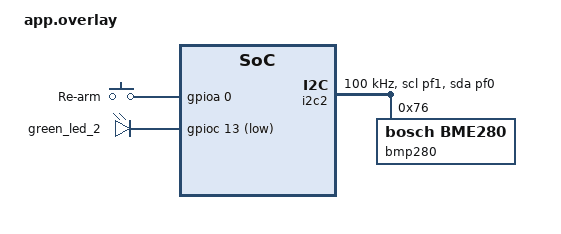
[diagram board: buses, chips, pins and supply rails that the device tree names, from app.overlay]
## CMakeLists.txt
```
# SPDX-License-Identifier: Apache-2.0

cmake_minimum_required(VERSION 3.20.0)
find_package(Zephyr REQUIRED HINTS $ENV{ZEPHYR_BASE})
project(rocket_demo)

# Test-only: scripted LED requests, so the arbitration can be observed without
# flight logic. Never enabled for a release build.
option(APP_LED_SELFTEST "Run the LED request self-test sequence" OFF)

target_sources(app PRIVATE
    src/main.cpp
    src/shared_data.cpp
    src/bus_recovery.cpp
    src/altitude.cpp
    src/led_logic.cpp
    src/led_pulse.cpp
    src/apogee.cpp
    src/rearm.cpp
    src/heat.cpp
    src/sensor_task.cpp
    src/altitude_task.cpp
    src/apogee_task.cpp
    src/heat_task.cpp
    src/led_manager.cpp
    src/telemetry_task.cpp
)

if(CONFIG_APP_REPLAY)
    target_sources(app PRIVATE src/replay.cpp)
endif()

if(APP_LED_SELFTEST)
    target_sources(app PRIVATE src/led_selftest.cpp)
    target_compile_definitions(app PRIVATE APP_LED_SELFTEST=1)
endif()
```

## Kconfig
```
# Application-specific configuration.
#
# This file is the Kconfig root for the application, so it must pull in
# Zephyr's own tree first; otherwise every Zephyr symbol is undefined.
#
# These are the values that a reviewer or a test build is expected to change
# without touching source. The 750 ms window, the 10 s deployment indication,
# the 5 s alarm and the 500 ms blink period are *not* configurable: they are
# the behaviour the assignment specifies.

source "Kconfig.zephyr"

menu "Rocket demo"

config APP_APOGEE_MIN_ALT_CM
	int "Minimum altitude above the baseline before deploying (cm)"
	range 10 3000
	default 150
	help
	  Threshold relative to the baseline P0 captured at start-up, not to sea
	  level. 150 cm is about 1.7x the altitude noise measured on the bench
	  (0.89 m peak-to-peak). A bench value, not a flight value: a real vehicle
	  would set this well above the ground handling envelope.

config APP_APOGEE_MIN_DESCENT_MM_S
	int "Minimum average descent over 750 ms (mm/s)"
	range 0 20000
	default 300
	help
	  How far below zero the 750 ms average velocity must be. 0 is the literal
	  "becomes negative" of the assignment; 300 mm/s is a noise guard above it,
	  not a performance threshold.

	  The same value is applied to the least-squares slope over the same window.
	  Both estimators must be at least this far below zero, so a single bad edge
	  sample cannot pass the trigger on its own. On a ballistic fall the two are
	  mathematically identical, so the extra condition costs nothing there.

	  Timing: falling from rest at apogee, a 0.3 m/s trailing average is
	  reached about 0.41 s later, roughly 0.81 m below the peak. Raising this
	  value delays detection; it does not improve it in flight.

	  Note that a moving vehicle is not a bench: in the lab, a hand settle after
	  a fast lift reaches about 0.36 m/s, which is why bench.conf needs a
	  *larger* margin than this default.

config APP_APOGEE_MIN_DROP_CM
	int "Descent below the peak before deploying (cm)"
	range 0 500
	default 25
	help
	  How far the altitude must fall below the estimated peak, which is the
	  maximum of a three-sample median rather than the raw maximum, so an
	  isolated spike cannot become the peak.

	  25 cm is a confirmation guard, not a requirement. On a ballistic fall it
	  is free: 0.81 m has already been fallen when the 0.30 m/s average is
	  reached. On a bench it is the weakest guard, because a hand settle after
	  a fast lift measures 35-44 cm; bench.conf therefore uses a larger margin
	  rather than relying on this filter.

config APP_REARM_BUTTON
	bool "Re-arm a simulated flight from the user button"
	default y
	help
	  Pressing the button clears the detector history and latch, ends the
	  deployment indication and restarts the baseline calibration, so a new
	  simulated flight can begin without a reboot. Heat is deliberately left
	  alone: a hot sensor is a condition, not a flight artefact.

	  The pin is declared in app.overlay as rearm_button (PA0, active low,
	  pull-up). Disable this if the pin is needed for something else; a reset
	  is then a power cycle or a reflash.

config APP_REARM_DEBOUNCE_MS
	int "Re-arm button debounce (ms)"
	depends on APP_REARM_BUTTON
	default 50
	range 5 500
	help
	  How long the pressed level must be stable before a press is accepted.
	  A mechanical button bounces for a few milliseconds; the apogee thread
	  polls every 50 ms, so 50 ms costs at most one extra poll.

config APP_HEAT_THRESHOLD_MC
	int "Overheat threshold (milli-degrees Celsius)"
	range -40000 85000
	default 30000
	help
	  The temperature at or above which the overheat alarm starts. 30000 is
	  30.0 C: above a still bench, which reads about 23 C here, and reachable
	  by pinching the sensor.

config APP_HEAT_HYSTERESIS_MC
	int "Overheat release hysteresis (milli-degrees Celsius)"
	range 0 5000
	default 200
	help
	  The alarm clears only once the temperature falls below the threshold
	  minus this band. 200 = 0.2 C, which is above the sensor's noise so the
	  alarm does not chatter at the boundary.

config APP_REPLAY
	bool "Replay a recorded trace instead of the live sensor"
	default n
	help
	  Publishes a trace from traces/ through the normal measurement store, so
	  altitude, apogee, heat and the LED run unmodified. Exactly one publisher
	  exists per boot: the sensor thread is not started in this mode.

choice APP_REPLAY_TRACE
	prompt "Trace to replay"
	depends on APP_REPLAY
	default APP_TRACE_AT05
	help
	  One trace per build, so each acceptance scenario is reproducible and its
	  evidence is tied to a known binary. See traces/.

config APP_TRACE_AT04A
	bool "at04a - descending below the minimum"
config APP_TRACE_AT04B
	bool "at04b - above the minimum but ascending"
config APP_TRACE_AT05
	bool "at05 - ascent, peak, sustained descent"
config APP_TRACE_AT08
	bool "at08 - deployment then heat, cooling before the deadline"
config APP_TRACE_AT09
	bool "at09 - heat starts after the deployment deadline"
config APP_TRACE_AT07A
	bool "at07a - heat only, one 5 s window"
config APP_TRACE_AT07B
	bool "at07b - heat across renewals, then cooling"
endchoice

config APP_READY_INDICATION
	bool "Flash the LED twice when the system is ready"
	default y
	help
	  Once the sensor is answering, the baseline is frozen and the 750 ms
	  history is full, flash the LED twice (100 ms on, 120 ms off, 100 ms on).
	  This exists for untethered runs where no console is available.
	  It is not part of the assignment's LED behaviour; disable it to keep the
	  LED strictly for deployment and overheating.

endmenu
```

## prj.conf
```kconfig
CONFIG_GPIO=y

# BMP280 pressure/temperature sensor on I2C2 (PF1 = SCL, PF0 = SDA)
CONFIG_I2C=y
# Recover a latched bus (SDA held low) by bit-banging, instead of needing a
# power cycle after a mid-transfer reset.
CONFIG_I2C_STM32_BUS_RECOVERY=y
CONFIG_SENSOR=y
CONFIG_BME280=y

# Sampling: 8x pressure / 2x temperature, one conversion per 50 ms sample.
# Forced mode means each fetch triggers exactly one measurement and the sensor
# returns to sleep, so a 50 ms period contains exactly one fresh conversion
# instead of whatever normal mode last left in the data registers.
# 24.8 ms of conversion in a 50 ms period leaves ~24 ms of slack.
CONFIG_BME280_MODE_FORCED=y
CONFIG_BME280_PRESS_OVER_8X=y
CONFIG_BME280_TEMP_OVER_2X=y
# The BMP280 has no humidity sensor, but the driver's sample-time constant
# counts humidity oversampling anyway. At the default 16x it computes 53 ms,
# which exceeds the 50 ms period, so every fetch would overrun the schedule
# without any build error. At 1x the constant is 23 ms.
CONFIG_BME280_HUMIDITY_OVER_1X=y
# The IIR filter needs consecutive measurements in normal mode to smooth
# across; forced mode sleeps between conversions, so the filter is not relied
# on. The 750 ms descent window provides the averaging instead.
CONFIG_BME280_FILTER_OFF=y

# Console output over the ST-Link SWD connection via SEGGER RTT,
# because no USB-UART adapter is available.
CONFIG_USE_SEGGER_RTT=y
CONFIG_RTT_CONSOLE=y
# 8 KB rather than 2 KB: the LED self-test emits four transition lines per
# second on top of the normal telemetry, and a 2 KB buffer overran during it
# (lines were truncated mid-word). The cost is 6 KB of RAM.
CONFIG_SEGGER_RTT_BUFFER_SIZE_UP=8192
# The board defconfig enables the USART2 console, which installs its own printk
# hook at the same init priority and wins over RTT. Disable it so RTT is used.
CONFIG_UART_CONSOLE=n

# Added automatically by Workbench for Zephyr
#--- DEBUG PRESET - BEGIN ---#
# Set to -Og
CONFIG_DEBUG_OPTIMIZATIONS=y
# Thread awareness support
CONFIG_DEBUG_THREAD_INFO=y
# Generate stack usage per-function
CONFIG_STACK_USAGE=y
# Other options in case not set by default
CONFIG_BUILD_OUTPUT_HEX=y
CONFIG_BUILD_OUTPUT_META=y
CONFIG_OUTPUT_SYMBOLS=y
CONFIG_OUTPUT_STAT=y
CONFIG_OUTPUT_DISASSEMBLY=y
CONFIG_OUTPUT_PRINT_MEMORY_USAGE=y
CONFIG_CPP=y
CONFIG_STD_CPP17=y
#--- DEBUG PRESET - END ---#

# Application tuning (see Kconfig). These are the values the assignment calls
# "configurable"; the 750 ms window and the 10 s / 5 s / 500 ms indication
# timings are deliberately not configurable.
CONFIG_APP_APOGEE_MIN_ALT_CM=150
CONFIG_APP_APOGEE_MIN_DESCENT_MM_S=300
CONFIG_APP_APOGEE_MIN_DROP_CM=25
# Flash twice once the system is ready, for untethered runs with no console.
CONFIG_APP_HEAT_THRESHOLD_MC=30000
CONFIG_APP_HEAT_HYSTERESIS_MC=200
CONFIG_APP_READY_INDICATION=y
```

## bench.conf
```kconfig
# Bench demonstration preset.
#
# Not a default. Layered on top of prj.conf when you want the detector to react
# to a deliberate hand move rather than to a real descent:
#
#   west build -p always -b olimex_stm32_h407 -d build/bench . -- ^
#     "-DEXTRA_CONF_FILE=bench.conf"
#
# Why the margin here (600) is *higher* than the flight default (300), measured
# on 2026-11-01 with the default build: raising the board by hand and holding it
# still produces a settle of 35-44 cm at about 0.36 m/s, which passes the 0.30
# margin and the 25 cm drop. That is a real decrease in the measurement, not a
# spike: both estimators agree, so no filter can separate it from a descent.
# A 0.60 margin sits above that settle, so lift-and-hold stays quiet.
#
# What still triggers: a deliberate lowering of about 0.5 m in 0.7 s is roughly
# 0.7 m/s, above 0.60. Violent sideways movement can also exceed 0.60 (measured
# excursions reach 1.19 m/s in the average and 0.73 m/s in the slope) — this
# preset is for a calm demonstration, not for shaking the board.
#
# The drop confirmation (15 cm) is non-binding here: a 0.60 m/s average over
# 750 ms already implies 45 cm of fall. It is kept low so the deliberate
# lowering is not delayed. The altitude gate is lowered to 50 cm so the board
# does not have to be held above 1.5 m.

CONFIG_APP_APOGEE_MIN_ALT_CM=50
CONFIG_APP_APOGEE_MIN_DESCENT_MM_S=600
CONFIG_APP_APOGEE_MIN_DROP_CM=15
```

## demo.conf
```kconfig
# Recorded-demo profile.
#
# The assignment only asks the LED for two things: steady ON for 10 s after
# deployment, and a 500 ms blink while overheating. The boot "ready" flash is
# our own aid for untethered runs, so it is disabled here to keep the recorded
# demonstration free of behaviours the specification does not mention.
#
#   west build -p always -b olimex_stm32_h407 -d build/demo . -- ^
#     "-DEXTRA_CONF_FILE=demo.conf"

CONFIG_APP_READY_INDICATION=n
```

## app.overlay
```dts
#include <zephyr/dt-bindings/i2c/i2c.h>

/* Olimex STM32-H407 rev B: user LED is on PC13, active-low. */
&green_led_2 {
	gpios = <&gpioc 13 GPIO_ACTIVE_LOW>;
};

/*
 * BMP280 on I2C2:
 *   PF header pin 4 = PF1 = SCL
 *   PF header pin 3 = PF0 = SDA
 * Address 0x76 assumes SDO/SA0 is tied to GND.
 */
&i2c2 {
	status = "okay";
	pinctrl-0 = <&i2c2_scl_pf1 &i2c2_sda_pf0>;
	pinctrl-names = "default";
	clock-frequency = <I2C_BITRATE_STANDARD>;

	/*
	 * Recovery taps for a bus that has latched (a device holding SDA low).
	 * With CONFIG_I2C_STM32_BUS_RECOVERY the driver bit-bangs nine clocks and
	 * a STOP over these GPIOs, so a wedged bus does not need a power cycle.
	 * Open-drain: the breakout's pull-ups define the high level.
	 */
	scl-gpios = <&gpiof 1 (GPIO_OPEN_DRAIN | GPIO_ACTIVE_HIGH)>;
	sda-gpios = <&gpiof 0 (GPIO_OPEN_DRAIN | GPIO_ACTIVE_HIGH)>;

	bmp280: bmp280@76 {
		compatible = "bosch,bme280";
		reg = <0x76>;
	};
};

/*
 * Re-arm button.
 *
 * PA0 is the board's user button. Zephyr's own devicetree calls that pin
 * green_led_2, but this project drives the LED on PC13 (see above), so PA0 is
 * free and the two cannot collide.
 *
 * Measured on 2026-11-02: the pin reads LOW at rest with the internal pull-up
 * enabled and the board's own resistor winning, so the button connects the pin
 * to 3V3 and the sense is ACTIVE_HIGH with a pull-down. Reading it as active-low
 * reported a phantom press on every boot.
 *
 * Pressing it starts a new simulated flight without a reboot: detector history
 * and latch cleared, deployment request cleared, baseline recalibrated.
 */
/ {
	rearm_keys {
		compatible = "gpio-keys";

		rearm_button: button {
			label = "Re-arm";
			gpios = <&gpioa 0 (GPIO_ACTIVE_HIGH | GPIO_PULL_DOWN)>;
		};
	};
};
```

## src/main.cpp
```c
#include "app_config.hpp"
#include "altitude_task.hpp"
#include "apogee_task.hpp"
#include "bus_recovery.hpp"

#include "heat_task.hpp"
#include "led_manager.hpp"
#include "sensor_task.hpp"
#include "shared_data.hpp"
#include "telemetry_task.hpp"

#if defined(CONFIG_APP_REPLAY)
#include "replay.hpp"
#endif

#if defined(APP_LED_SELFTEST)
#include "led_selftest.hpp"
#endif

#include <zephyr/device.h>
#include <zephyr/drivers/i2c.h>
#include <zephyr/kernel.h>
#include <zephyr/sys/printk.h>

namespace {

const device *const kSensorBus = DEVICE_DT_GET(DT_BUS(DT_NODELABEL(bmp280)));

/*
 * When the sensor does not answer, probe the two addresses the breakout can
 * take and read the chip ID register. Distinguishes "wrong address strap" from
 * "nothing on the bus at all", instead of guessing at wiring.
 *
 * Replay mode never touches the bus, so this is compiled out there.
 */
#if !defined(CONFIG_APP_REPLAY)
void probe_sensor_addresses()
{
	struct {
		uint16_t address;
		const char *strap;
	} const candidates[] = {
		{0x76, "SDO to GND"},
		{0x77, "SDO to 3V3 or floating"},
	};

	printk("i2c: probing 0x76 and 0x77 (chip id register 0xD0)\n");

	for (const auto &candidate : candidates) {
		uint8_t chip_id = 0;
		const int rc = i2c_reg_read_byte(kSensorBus, candidate.address,
						 0xD0, &chip_id);

		if (rc == 0) {
			printk("i2c:   0x%02x ACK, chip id 0x%02x (%s)\n",
			       candidate.address, chip_id, candidate.strap);
		} else {
			printk("i2c:   0x%02x no answer (%d, %s)\n",
			       candidate.address, rc, candidate.strap);
		}
	}
}
#endif /* !CONFIG_APP_REPLAY */

} // namespace

/*
 * Startup only: bring up shared state, start the threads, then idle. No
 * acquisition, calculation or LED pattern logic belongs here.
 */
int main(void)
{
	sensor_data().init();
	altitude_data().init();
	led_requests().init();

	/* The LED manager owns the pin; a failure is reported but not fatal. */
	if (!led_manager_start()) {
		printk("WARNING: LED indication unavailable; everything else runs\n");
	}

#if defined(CONFIG_APP_REPLAY)
	/*
	 * Replay mode: no sensor thread, no bus recovery. Exactly one publisher.
	 */
	printk("TEST MODE: REPLAY %s (live sensor not used)\n",
	       replay_trace_name());
	replay_task_start();
#else
	/*
	 * A latched bus is cleared by bus_recovery.cpp, which runs as a POST_KERNEL
	 * init step: after the I2C controller exists and, crucially, before the
	 * BMP280 driver initialises. Doing it here would be too late, because a
	 * device whose init failed stays not-ready for the rest of the boot.
	 *
	 * It runs before the console exists, so its result is reported now. A
	 * non-zero value means the bus was latched and the recovery failed.
	 */
	const int boot_recovery = bus_recovery_status();

	if (boot_recovery == 0) {
		printk("i2c: boot recovery ok (ran before the sensor driver)\n");
	} else {
		printk("WARNING: I2C boot recovery failed (%d)\n", boot_recovery);
	}

	if (!sensor_task_start()) {
		printk("ERROR: %s not ready. Check 3V3, GND, SDA=PF0, SCL=PF1, "
		       "CSB->3V3, SDO->GND (address 0x76 = SDO low, "
		       "0x77 = SDO high).\n",
		       DEVICE_DT_GET(DT_NODELABEL(bmp280))->name);

		probe_sensor_addresses();

		/* Stay alive with a usable console; never fabricate measurements. */
		for (;;) {
			k_msleep(5000);
		}
	}
#endif

	telemetry_task_start();
	altitude_task_start();
	apogee_task_start();
	heat_task_start();

#if defined(APP_LED_SELFTEST)
	led_selftest_start();
	printk("TEST MODE: LED SELFTEST is active, requests are scripted\n");
#endif

#if defined(CONFIG_APP_REPLAY)
	printk("input: REPLAY %s, %d ms cadence (live sensor not used)\n",
	       replay_trace_name(), cfg::kSamplePeriodMs);
	printk("threads: replay(%d) altitude(%d) apogee(%d) heat(%d) led(%d)"
	       " telemetry(%d); stale timeout %d ms\n",
	       cfg::kReplayPriority, cfg::kAltitudePriority,
	       cfg::kApogeePriority, cfg::kHeatPriority, cfg::kLedPriority,
	       cfg::kTelemetryPriority, cfg::kStaleTimeoutMs);
#else
	printk("input: LIVE BMP280, I2C2 SCL=PF1 SDA=PF0 addr=0x76, forced mode"
	       " 8x/2x, %d ms period\n", cfg::kSamplePeriodMs);
	printk("threads: sensor(%d) altitude(%d) apogee(%d) heat(%d) led(%d)"
	       " telemetry(%d); stale timeout %d ms\n",
	       cfg::kSensorPriority, cfg::kAltitudePriority, cfg::kApogeePriority,
	       cfg::kHeatPriority, cfg::kLedPriority, cfg::kTelemetryPriority,
	       cfg::kStaleTimeoutMs);
#endif

	/* All work is in the threads now; main has nothing left to do. */
	for (;;) {
		k_msleep(1000);
	}
}
```

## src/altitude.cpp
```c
#include "altitude.hpp"

/*
 * picolibc's C maths header. Zephyr builds C++ with -nostdinc++ against its
 * minimal C++ library, which has no <cmath>, so the C names are the only ones
 * available here.
 */
#include <math.h>

namespace {

bool plausible(int32_t pressure_pa, int32_t reference_pa)
{
	return pressure_pa >= altitude::kMinPressurePa &&
	       pressure_pa <= altitude::kMaxPressurePa &&
	       reference_pa >= altitude::kMinPressurePa &&
	       reference_pa <= altitude::kMaxPressurePa;
}

} // namespace

namespace altitude {

bool meters(int32_t pressure_pa, int32_t reference_pa, double &out_m)
{
	if (!plausible(pressure_pa, reference_pa)) {
		return false;
	}

	/*
	 * log1p/expm1 keep their precision when P is close to P0, where a plain
	 * 1 - pow() subtracts two nearly equal numbers. On the bench the whole
	 * signal lives in that region: 1 hPa is only about 8 m.
	 */
	const double delta_ratio =
		(static_cast<double>(pressure_pa) - static_cast<double>(reference_pa)) /
		static_cast<double>(reference_pa);
	const double value = -kScaleM * expm1(kExponent * log1p(delta_ratio));

	if (!isfinite(value)) {
		return false;
	}

	out_m = value;
	return true;
}

bool centimeters(int32_t pressure_pa, int32_t reference_pa, int32_t &out_cm)
{
	double metres = 0.0;

	if (!meters(pressure_pa, reference_pa, metres)) {
		return false;
	}

	const double value = metres * 100.0;

	if (!isfinite(value) || value > 2147483647.0 || value < -2147483648.0) {
		return false;
	}

	/* Round half away from zero without depending on llround(). */
	out_cm = static_cast<int32_t>(value >= 0.0 ? value + 0.5 : value - 0.5);

	return true;
}

} // namespace altitude
```

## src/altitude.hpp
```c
#pragma once

#include <cstdint>

/*
 * Barometric altitude from the standard-atmosphere approximation:
 *
 *   h = 44330 * (1 - (P / P0) ^ 0.1903)   metres
 *
 * Pure calculation: no Zephyr headers, no hardware, no state. It is kept
 * separate from the thread so it can be tested on a workstation without a
 * board (tests/altitude_test.cpp).
 */
namespace altitude {

constexpr double kScaleM = 44330.0;
constexpr double kExponent = 0.1903;

/* BMP280 datasheet operating range, in pascals. */
constexpr int32_t kMinPressurePa = 30000;
constexpr int32_t kMaxPressurePa = 110000;

/*
 * Inputs outside the sensor's physical range are rejected rather than
 * converted, so a bus fault cannot become a plausible-looking altitude.
 * The result is rounded to the nearest centimetre.
 */
bool centimeters(int32_t pressure_pa, int32_t reference_pa, int32_t &out_cm);

/* Same calculation in metres, for the tests and the README examples. */
bool meters(int32_t pressure_pa, int32_t reference_pa, double &out_m);

} // namespace altitude
```

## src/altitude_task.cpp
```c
#include "altitude_task.hpp"

#include "altitude.hpp"
#include "app_config.hpp"
#include "shared_data.hpp"

#include <zephyr/kernel.h>
#include <zephyr/sys/printk.h>

namespace {

K_THREAD_STACK_DEFINE(altitude_stack, cfg::kAltitudeStackBytes);
struct k_thread altitude_thread;

/*
 * Baseline calibration window. It stores time rather than a sample count, so a
 * missed sample cannot silently shorten the window, and it keeps min/max so a
 * reading taken while the sensor was moving restarts calibration.
 */
class BaselineWindow {
public:
	void add(int32_t pressure_pa, int64_t timestamp_ms)
	{
		pressure_[next_] = pressure_pa;
		timestamp_[next_] = timestamp_ms;
		next_ = (next_ + 1) % cfg::kBaselineMaxSamples;

		if (count_ < cfg::kBaselineMaxSamples) {
			++count_;
		}
	}

	/* Discard samples that fell out of the window, measured from the newest. */
	void evict(int64_t newest_ms)
	{
		while (count_ > 0) {
			const unsigned int oldest = index(0);

			if (newest_ms - timestamp_[oldest] <= cfg::kBaselineWindowMs) {
				break;
			}

			--count_;
		}
	}

	void reset()
	{
		count_ = 0;
		next_ = 0;
	}

	unsigned int count() const
	{
		return count_;
	}

	int64_t coverage_ms() const
	{
		if (count_ < 2) {
			return 0;
		}

		return timestamp_[index(count_ - 1)] - timestamp_[index(0)];
	}

	bool stats(int32_t &out_mean, int32_t &out_spread) const
	{
		if (count_ == 0) {
			return false;
		}

		int32_t lowest = INT32_MAX;
		int32_t highest = INT32_MIN;
		int64_t sum = 0;

		for (unsigned int i = 0; i < count_; ++i) {
			const int32_t value = pressure_[index(i)];

			if (value < lowest) {
				lowest = value;
			}

			if (value > highest) {
				highest = value;
			}

			sum += value;
		}

		out_mean = static_cast<int32_t>(sum / static_cast<int64_t>(count_));
		out_spread = highest - lowest;

		return true;
	}

private:
	/* 0 is the oldest retained sample, count() - 1 the newest. */
	unsigned int index(unsigned int offset_from_oldest) const
	{
		const unsigned int oldest =
			(next_ + cfg::kBaselineMaxSamples - count_) %
			cfg::kBaselineMaxSamples;

		return (oldest + offset_from_oldest) % cfg::kBaselineMaxSamples;
	}

	int32_t pressure_[cfg::kBaselineMaxSamples]{};
	int64_t timestamp_[cfg::kBaselineMaxSamples]{};
	unsigned int count_ = 0;
	unsigned int next_ = 0;
};

void publish_invalid(const Measurement &measurement, int32_t reference_pa,
		     bool calibrated, unsigned int baseline_samples)
{
	Altitude out{};

	out.source_sequence = measurement.sequence;
	out.source_timestamp_ms = measurement.timestamp_ms;
	out.reference_pa = reference_pa;
	out.baseline_samples = static_cast<uint16_t>(baseline_samples);
	out.valid = false;
	out.calibrated = calibrated;

	altitude_data().publish(out);
}

void altitude_entry(void *, void *, void *)
{
	BaselineWindow window;

	bool calibrated = false;
	bool have_sequence = false;
	uint32_t last_sequence = 0;
	int32_t reference_pa = 0;
	int64_t last_restart_log = -1000000;

	int64_t next = k_uptime_get();

	for (;;) {
		/*
		 * Re-arm: the operator asked for a new simulated flight. The
		 * baseline is this thread's state, so it is thrown away here and
		 * rebuilt from the next 1.5 s of samples. Until then altitude is
		 * published invalid, which inhibits flight decisions upstream.
		 */
		if (altitude_data().take_recalibration()) {
			window.reset();
			calibrated = false;
			reference_pa = 0;

			printk("alt:  recalibration requested; baseline cleared\n");
		}

		Measurement measurement{};
		sensor_data().read(measurement);

		const int64_t now = k_uptime_get();
		const int64_t age = now - measurement.timestamp_ms;

		const bool fresh = measurement.valid && age <= cfg::kStaleTimeoutMs;
		const bool is_new = !have_sequence || measurement.sequence != last_sequence;

		if (!fresh) {
			/*
			 * While calibrating, a gap breaks the "stationary" claim, so the
			 * window restarts. Once P0 is frozen it is kept: a missed sample
			 * must not force a recalibration that blacks out altitude for
			 * another two seconds, and must not move the reference mid-flight.
			 * Only the published altitude goes invalid.
			 */
			if (!calibrated) {
				window.reset();
			}

			publish_invalid(measurement, reference_pa, calibrated,
					calibrated ? 0 : window.count());
		} else if (is_new) {
			have_sequence = true;
			last_sequence = measurement.sequence;

			const bool plausible =
				measurement.pressure_pa >= altitude::kMinPressurePa &&
				measurement.pressure_pa <= altitude::kMaxPressurePa;

			if (!calibrated) {
				if (plausible) {
					window.add(measurement.pressure_pa,
						   measurement.timestamp_ms);
					window.evict(measurement.timestamp_ms);
				}

				int32_t mean = 0;
				int32_t spread = 0;

				if (window.count() >= cfg::kBaselineMinSamples &&
				    window.coverage_ms() >= cfg::kBaselineMinCoverageMs &&
				    window.stats(mean, spread)) {
					if (spread <= cfg::kBaselineMaxSpreadPa) {
						calibrated = true;
						reference_pa = mean;

						printk("alt:  baseline frozen P0=%d Pa after"
						       " %u samples (spread %d Pa)\n",
						       reference_pa, window.count(),
						       spread);
					} else {
						/*
						 * The sensor moved during calibration. Start
						 * again from this sample so the movement is not
						 * remembered as a valid baseline.
						 */
						window.reset();
						window.add(measurement.pressure_pa,
							   measurement.timestamp_ms);
						window.evict(measurement.timestamp_ms);

						if (now - last_restart_log >= 1000) {
							printk("alt:  baseline restarted"
							       " (spread %d Pa > %d)\n",
							       spread,
							       cfg::kBaselineMaxSpreadPa);
							last_restart_log = now;
						}
					}
				}

				if (!calibrated) {
					publish_invalid(measurement, 0, false,
							window.count());
				}
			}

			if (calibrated) {
				Altitude out{};

				out.source_sequence = measurement.sequence;
				out.source_timestamp_ms = measurement.timestamp_ms;
				out.reference_pa = reference_pa;
				out.baseline_samples =
					static_cast<uint16_t>(window.count());
				out.calibrated = true;

				out.valid = altitude::centimeters(measurement.pressure_pa,
								  reference_pa,
								  out.altitude_cm);

				altitude_data().publish(out);
			}
		}

		/*
		 * Absolute deadline, like the sensor loop: a slow reread must not
		 * stretch the period. A missed slot is skipped rather than caught up.
		 */
		next += cfg::kAltitudePeriodMs;

		if (k_uptime_get() > next) {
			next = k_uptime_get() + cfg::kAltitudePeriodMs;
		}

		k_sleep(K_TIMEOUT_ABS_MS(next));
	}
}

} // namespace

void altitude_task_start()
{
	k_thread_create(&altitude_thread, altitude_stack,
			K_THREAD_STACK_SIZEOF(altitude_stack), altitude_entry,
			nullptr, nullptr, nullptr, cfg::kAltitudePriority, 0,
			K_NO_WAIT);
	(void)k_thread_name_set(&altitude_thread, "altitude");
}
```

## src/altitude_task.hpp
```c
#pragma once

/*
 * Starts the altitude thread. It reads pressure from the measurement store,
 * calibrates a baseline, and publishes a separate altitude snapshot. It never
 * touches the sensor or the LED.
 */
void altitude_task_start();
```

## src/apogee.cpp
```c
#include "apogee.hpp"

/* Zephyr's minimal C++ library has no <cstring>; the C header is available. */
#include <string.h>

namespace {

int32_t to_mm_s(double velocity_ms)
{
	const double scaled = velocity_ms * 1000.0;

	/* Round half away from zero without depending on llround(). */
	return static_cast<int32_t>(scaled >= 0.0 ? scaled + 0.5 : scaled - 0.5);
}

} // namespace

namespace apogee {

Detector::Detector(const Config &config)
	: config_(config), count_(0), last_sequence_valid_(0), last_sequence_(0),
	  state_(State::filling), velocity_mm_s_(0), slope_mm_s_(0),
	  peak_cm_(INT32_MIN), apogee_cm_(INT32_MIN), apogee_ms_(0), drop_cm_(0)
{
}

void Detector::push(const Sample &sample)
{
	if (count_ == kCapacity) {
		/* Drop the oldest; the window is time-bounded anyway. */
		memmove(&samples_[0], &samples_[1],
			     sizeof(Sample) * (kCapacity - 1));
		--count_;
	}

	samples_[count_++] = sample;
}

void Detector::evict_older_than(int64_t newest_ms)
{
	int keep_from = 0;

	while (keep_from < count_ &&
	       newest_ms - samples_[keep_from].timestamp_ms > config_.history_ms) {
		++keep_from;
	}

	if (keep_from == 0) {
		return;
	}

	count_ -= keep_from;
	memmove(&samples_[0], &samples_[keep_from], sizeof(Sample) * count_);
}

bool Detector::interpolate_altitude(int64_t at_ms, double &out_cm) const
{
	if (count_ < 2) {
		return false;
	}

	int i = 0;

	while (i < count_ && samples_[i].timestamp_ms < at_ms) {
		++i;
	}

	if (i == 0) {
		/* at_ms is at or before the oldest sample: exact only on equality. */
		if (samples_[0].timestamp_ms == at_ms) {
			out_cm = static_cast<double>(samples_[0].altitude_cm);
			return true;
		}

		return false;
	}

	if (i >= count_) {
		/* at_ms is after the newest sample: there is nothing to interpolate. */
		return false;
	}

	const Sample &before = samples_[i - 1];
	const Sample &after = samples_[i];
	const int64_t span = after.timestamp_ms - before.timestamp_ms;

	if (span <= 0) {
		out_cm = static_cast<double>(after.altitude_cm);
		return true;
	}

	const double fraction =
		static_cast<double>(at_ms - before.timestamp_ms) /
		static_cast<double>(span);

	out_cm = static_cast<double>(before.altitude_cm) +
		 fraction * (static_cast<double>(after.altitude_cm) -
			     static_cast<double>(before.altitude_cm));

	return true;
}

int32_t Detector::median_recent(int n, int64_t &out_timestamp_ms) const
{
	if (n > count_) {
		n = count_;
	}

	if (n <= 0) {
		out_timestamp_ms = 0;
		return 0;
	}

	const int first = count_ - n;

	/*
	 * Selection sort over at most three values: no allocation and no copy of
	 * the sample array. Ties keep their original order, so the middle value is
	 * stable.
	 */
	int order[3] = {0, 1, 2};

	for (int i = 0; i < n; ++i) {
		for (int j = i + 1; j < n; ++j) {
			if (samples_[first + order[j]].altitude_cm <
			    samples_[first + order[i]].altitude_cm) {
				const int swap = order[i];

				order[i] = order[j];
				order[j] = swap;
			}
		}
	}

	/*
	 * The filtered value is the middle altitude, but its time is the middle
	 * sample's time: a median filter is centred on the middle of its window,
	 * so the estimate for that instant is only available once the newest
	 * sample has arrived.
	 */
	out_timestamp_ms = samples_[first + n / 2].timestamp_ms;

	return samples_[first + order[n / 2]].altitude_cm;
}

bool Detector::average_velocity(int64_t &out_target_ms,
				double &out_velocity_ms) const
{
	if (count_ < 2 || config_.window_ms <= 0) {
		return false;
	}

	const Sample &newest = samples_[count_ - 1];
	const int64_t start_ts = newest.timestamp_ms - config_.window_ms;

	if (start_ts < samples_[0].timestamp_ms) {
		/* History does not reach back a full window yet. */
		return false;
	}

	double start_cm = 0.0;

	if (!interpolate_altitude(start_ts, start_cm)) {
		return false;
	}

	const double seconds = static_cast<double>(config_.window_ms) / 1000.0;

	if (!(seconds > 0.0)) {
		return false;
	}

	out_velocity_ms =
		(static_cast<double>(newest.altitude_cm) - start_cm) / 100.0 /
		seconds;
	out_target_ms = start_ts;

	return true;
}

bool Detector::slope_over_window(int64_t &out_target_ms,
				 double &out_slope_ms) const
{
	if (count_ < 2) {
		return false;
	}

	const Sample &newest = samples_[count_ - 1];
	const int64_t start_ts = newest.timestamp_ms - config_.window_ms;

	if (samples_[0].timestamp_ms > start_ts) {
		return false;
	}

	int first = 0;

	while (first < count_ && samples_[first].timestamp_ms < start_ts) {
		++first;
	}

	const int n = count_ - first;

	if (n < 2) {
		return false;
	}

	const double t_ref = static_cast<double>(newest.timestamp_ms) / 1000.0;
	double sum_x = 0.0;
	double sum_y = 0.0;
	double sum_xx = 0.0;
	double sum_xy = 0.0;

	for (int i = first; i < count_; ++i) {
		const double x =
			static_cast<double>(samples_[i].timestamp_ms) / 1000.0 - t_ref;
		const double y = static_cast<double>(samples_[i].altitude_cm) / 100.0;

		sum_x += x;
		sum_y += y;
		sum_xx += x * x;
		sum_xy += x * y;
	}

	const double denominator =
		static_cast<double>(n) * sum_xx - sum_x * sum_x;

	if (!(denominator > 0.0)) {
		/* Degenerate timestamps: refuse rather than divide by zero. */
		return false;
	}

	out_slope_ms = (static_cast<double>(n) * sum_xy - sum_x * sum_y) /
		       denominator;
	out_target_ms = start_ts;

	return true;
}

Event Detector::on_sample(const Sample &sample)
{
	Event event{};

	if (state_ == State::deployed) {
		/* One deployment per flight: nothing can extend or repeat it. */
		return event;
	}

	if (last_sequence_valid_ && sample.sequence == last_sequence_) {
		/* The consumer polls at its own rate; the same sample is not new data. */
		return event;
	}

	if (count_ > 0) {
		const int64_t newest = samples_[count_ - 1].timestamp_ms;

		if (sample.timestamp_ms <= newest) {
			/* Out-of-order or repeated timestamp: reject rather than reorder. */
			return event;
		}

		if (sample.timestamp_ms - newest > config_.max_gap_ms) {
			/*
			 * A hole this long cannot support a defensible 750 ms estimate:
			 * start the window again from this sample.
			 */
			count_ = 0;
			state_ = State::filling;
			peak_cm_ = INT32_MIN;
		}
	}

	push(sample);
	last_sequence_ = sample.sequence;
	last_sequence_valid_ = 1;

	evict_older_than(sample.timestamp_ms);

	const Sample &newest = samples_[count_ - 1];

	int64_t target = 0;
	double velocity_ms = 0.0;

	if (!average_velocity(target, velocity_ms)) {
		state_ = State::filling;
		return event;
	}

	velocity_mm_s_ = to_mm_s(velocity_ms);

	double slope_ms = 0.0;
	const bool slope_valid = slope_over_window(target, slope_ms);

	if (slope_valid) {
		slope_mm_s_ = to_mm_s(slope_ms);
	}

	if (state_ == State::filling) {
		state_ = State::ready;
	}

	/*
	 * Peak estimate. Each sample produces one filtered altitude: the median
	 * of itself and its two neighbours, stamped with the middle sample's time.
	 * Taking the maximum of that series means an isolated spike cannot become
	 * the peak, and a genuine peak is reported within about one sample of
	 * curvature (1.2 cm at 20 Hz) rather than one sample of climb: on a
	 * monotone climb the median of three is the middle sample's own value.
	 *
	 * Two references, deliberately different:
	 *   peak_cm_   - the drop confirmation. A history gap rebuilds it, because
	 *                a fault must not be able to manufacture a deployment.
	 *   apogee_cm_ - the flight result. It survives a gap and is reset only by
	 *                reset(), so an outage cannot erase the measured peak.
	 *
	 * Fewer than three samples after a gap means the filter window would
	 * straddle the hole, so nothing is estimated until it is valid again.
	 */
	if (count_ >= 3) {
		int64_t filtered_ms = 0;
		const int32_t filtered_cm = median_recent(3, filtered_ms);

		if (filtered_cm > peak_cm_) {
			peak_cm_ = filtered_cm;
		}

		if (filtered_cm > apogee_cm_) {
			apogee_cm_ = filtered_cm;
			apogee_ms_ = filtered_ms;
		}
	}

	int32_t drop_cm = 0;

	if (peak_cm_ != INT32_MIN) {
		drop_cm = peak_cm_ - newest.altitude_cm;
	}

	const bool high_enough = newest.altitude_cm >= config_.min_altitude_cm;
	const bool dropped = peak_cm_ != INT32_MIN &&
			     drop_cm >= config_.min_drop_cm;

	/*
	 * Reported drop, always from the estimated peak, so the log and the
	 * frozen event describe the same flight result even across a gap.
	 */
	drop_cm_ = apogee_cm_ == INT32_MIN ? 0 : apogee_cm_ - newest.altitude_cm;

	/*
	 * Strictly negative, and at least the configured margin below zero. The
	 * strictness matters when the margin is configured as 0: "v <= 0" would
	 * treat a flat trace as descending.
	 */
	const bool descending = velocity_mm_s_ < 0 &&
				velocity_mm_s_ <= -config_.min_descent_mm_s;

	/*
	 * Second opinion over the same window. A single bad sample at either edge
	 * of the average moves it by sample_error / 0.75 s, which is easily more
	 * than the margin; the fit averages all ~15 samples and only agrees when
	 * the window is a steady descent rather than a kink.
	 */
	const bool slope_descending = slope_valid && slope_mm_s_ < 0 &&
				      slope_mm_s_ <= -config_.min_descent_mm_s;

	if (high_enough && dropped && descending && slope_descending) {
		state_ = State::deployed;

		event.deployed = true;
		event.event_ms = newest.timestamp_ms;
		event.deadline_ms = newest.timestamp_ms + kDeploymentIndicationMs;
		event.apogee_cm = apogee_cm_;
		event.apogee_ms = apogee_ms_;
		event.drop_cm = drop_cm_;
	}

	return event;
}

State Detector::state() const
{
	return state_;
}

bool Detector::deployed() const
{
	return state_ == State::deployed;
}

int32_t Detector::velocity_mm_s() const
{
	return velocity_mm_s_;
}

int32_t Detector::slope_mm_s() const
{
	return slope_mm_s_;
}

int64_t Detector::coverage_ms() const
{
	if (count_ < 2) {
		return 0;
	}

	return samples_[count_ - 1].timestamp_ms - samples_[0].timestamp_ms;
}

int Detector::samples() const
{
	return count_;
}

bool Detector::have_apogee() const
{
	return apogee_cm_ != INT32_MIN;
}

int32_t Detector::apogee_cm() const
{
	return apogee_cm_;
}

int64_t Detector::apogee_ms() const
{
	return apogee_ms_;
}

int32_t Detector::drop_cm() const
{
	return drop_cm_;
}

void Detector::reset()
{
	count_ = 0;
	peak_cm_ = INT32_MIN;
	apogee_cm_ = INT32_MIN;
	apogee_ms_ = 0;
	drop_cm_ = 0;
	last_sequence_valid_ = 0;
	last_sequence_ = 0;
	state_ = State::filling;
	velocity_mm_s_ = 0;
	slope_mm_s_ = 0;
}

} // namespace apogee
```

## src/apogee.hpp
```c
#pragma once

#include <cstdint>

/*
 * Apogee detection, with no Zephyr, clock or hardware dependency: you feed it
 * timestamped altitude samples and it tells you when a deployment event starts.
 *
 * Trigger: the current altitude is at or above the configured minimum AND the
 * average vertical velocity over the preceding 750 ms is negative by at least a
 * configured margin, AND the least-squares slope over the same window is also
 * at least that margin below zero.
 *
 * That average is the textbook one, (h(now) - h(now - 750 ms)) / 0.750 s, with
 * the start height linearly interpolated between the two samples that bracket
 * the window edge. It is the quantity the assignment names, but it depends on
 * exactly two points, so one bad sample at either edge moves it by
 * sample_error / 0.75 s -- easily more than the margin.
 *
 * The slope is the second opinion. For a quadratic (constant acceleration) the
 * two are mathematically identical, so requiring both costs nothing on a real
 * descent; they only disagree when the window is not a steady fall, which is
 * exactly the case a bench lift produces. The assignment's "indicating
 * constant descent" is that linearity check, not a separate rule.
 *
 * Peak estimate (the drop confirmation and the reported flight result):
 * every new sample produces one filtered altitude, the median of that sample
 * and its two neighbours, and the median is associated with the timestamp of
 * the *middle* of the three (so it is available 50 ms after that time at
 * 20 Hz, not 150 ms). The peak is the maximum of those filtered values. An
 * isolated spike cannot raise it, because the median ignores the extreme of
 * the three. A genuine peak is not preserved exactly: if it falls on a sample,
 * the two neighbours are about 1.2 cm lower at 20 Hz, and the median reports
 * that lower value. The error is one sample of curvature, not one sample of
 * climb: during a monotone climb the median of three is the middle sample's
 * own altitude, so the same timestamp and value are recorded, only one sample
 * later.
 *
 * The peak feeds two different things and they are not the same obligation:
 *   - the drop confirmation needs a reference that a fault cannot manufacture,
 *     so a history gap rebuilds it from fresh samples;
 *   - the reported flight result is a measurement, so it survives a gap and is
 *     reset only by reset() (a new simulated flight).
 */
namespace apogee {

enum class State { filling, ready, deployed };

struct Config {
	int32_t min_altitude_cm;
	int32_t min_descent_mm_s; /* how far below zero the average must be */
	int64_t window_ms;        /* 750 */
	int64_t history_ms;       /* how long a sample may stay in the buffer */
	int64_t max_gap_ms;       /* a longer hole invalidates the window */
	int32_t min_drop_cm;      /* how far below the peak before deploying */
};

struct Sample {
	int64_t timestamp_ms;
	int32_t altitude_cm;
	uint32_t sequence;
};

struct Event {
	bool deployed;
	int64_t event_ms;    /* timestamp of the sample that satisfied both conditions */
	int64_t deadline_ms; /* event + 10 s, set once */

	/*
	 * Frozen when the decision is taken, so a later sample cannot move the
	 * flight result. drop_cm is the estimated peak minus the altitude at the
	 * decision; event_ms - apogee_ms is the decision delay from the peak.
	 */
	int32_t apogee_cm;
	int64_t apogee_ms;
	int32_t drop_cm;
};

constexpr int kCapacity = 32;
constexpr int64_t kDeploymentIndicationMs = 10000;

constexpr Config kDefaultConfig{
	150,   /* 1.50 m: about twice the observed peak-to-peak noise */
	300,   /* 0.30 m/s: a noise guard, not a performance threshold */
	750,
	2000,
	250,
	25,    /* 25 cm below the peak: a lift has zero drop by definition */
};

class Detector {
public:
	explicit Detector(const Config &config = kDefaultConfig);

	/* Returns an event only on the sample that first satisfies both conditions. */
	Event on_sample(const Sample &sample);

	State state() const;
	bool deployed() const;

	/* The value the trigger uses: window endpoint average. */
	int32_t velocity_mm_s() const;

	/* Diagnostic only: least-squares slope over the same window. */
	int32_t slope_mm_s() const;

	int64_t coverage_ms() const;
	int samples() const;

	/*
	 * Peak altitude estimate so far (median-of-three, middle-sample time).
	 * Before the decision this is "the highest estimate yet"; after it, the
	 * frozen flight result, because on_sample() stops updating once latched.
	 */
	bool have_apogee() const;
	int32_t apogee_cm() const;
	int64_t apogee_ms() const;

	/* apogee_cm() - the newest altitude, in cm; 0 before there is an estimate. */
	int32_t drop_cm() const;

	/* New simulated flight: clears history, the latch and the peak record. */
	void reset();

private:
	void push(const Sample &sample);
	void evict_older_than(int64_t newest_ms);

	/* Linear interpolation of the stored altitude at an arbitrary time. */
	bool interpolate_altitude(int64_t at_ms, double &out_cm) const;

	/*
	 * Median of the newest n altitudes (n <= 3, and only when n samples are
	 * present), associated with the timestamp of the middle sample of those n.
	 */
	int32_t median_recent(int n, int64_t &out_timestamp_ms) const;

	/* (h(now) - h(now - window)) / window, as documented in the README. */
	bool average_velocity(int64_t &out_target_ms, double &out_velocity_ms) const;

	/* Least-squares slope over the same window; diagnostic, not the trigger. */
	bool slope_over_window(int64_t &out_target_ms, double &out_slope_ms) const;

	Config config_;
	Sample samples_[kCapacity];
	int count_;
	int last_sequence_valid_;
	uint32_t last_sequence_;
	State state_;
	int32_t velocity_mm_s_;
	int32_t slope_mm_s_;

	/* Drop confirmation reference: median peak since the last history gap. */
	int32_t peak_cm_;

	/* Peak altitude estimate for the flight: survives gaps, reset by reset(). */
	int32_t apogee_cm_;
	int64_t apogee_ms_;
	int32_t drop_cm_;
};

} // namespace apogee
```

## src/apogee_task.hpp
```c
#pragma once

/*
 * Starts the apogee thread. It reads altitude snapshots, keeps its own 750 ms
 * history, and publishes a deployment request once per flight. It never touches
 * the LED or the sensor.
 */
void apogee_task_start();
```

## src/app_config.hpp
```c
#pragma once

#include <cstddef>
#include <cstdint>

/*
 * Named timing, sizing and priority constants for the whole application.
 * Altitude and temperature thresholds are added with the tasks that use them;
 * the policies behind these values are recorded in docs/decisions.md.
 */
namespace cfg {

/*
 * Acquisition period. 750 ms is exactly 15 periods, so the descent window ends
 * on a stored sample and needs no interpolation. Measured fetch time is 24 ms
 * (README, "Timing evidence").
 */
constexpr int kSamplePeriodMs = 50;

/* Console consumers run at their own rates; neither sets the acquisition rate. */
constexpr int kTelemetryPeriodMs = 500;

/* Altitude reads the measurement store at the acquisition rate. */
constexpr int kAltitudePeriodMs = 50;

/* Apogee reads the altitude store at the same rate it is published. */
constexpr int kApogeePeriodMs = 50;

/* Temperature monitor: poll the measurement store. */
constexpr int kHeatPeriodMs = 50;

/* LED manager: how often it re-evaluates the requests. */
constexpr int kLedUpdatePeriodMs = 10;

/*
 * Baseline calibration: mean pressure over a stationary window, then frozen.
 * 20 Pa is about 1.7 m at this altitude (dP/dh ~= 11.5 Pa/m), well above the
 * observed +/-3 Pa of sensor noise, so someone moving the sensor restarts it.
 */
constexpr int kBaselineWindowMs = 2000;
constexpr unsigned int kBaselineMinSamples = 38;
/*
 * The window must span this much wall time, not just hold 38 samples: 2 s with
 * 200 ms of slack (four sample periods), so a late sample cannot shrink the
 * evidence and a burst of samples cannot calibrate faster than 1.8 s.
 */
constexpr int64_t kBaselineMinCoverageMs = 1800;
constexpr int kBaselineMaxSpreadPa = 20;
constexpr unsigned int kBaselineMaxSamples = 64;

/* A measurement older than this must not drive flight decisions. */
constexpr int kStaleTimeoutMs = 250;

/* How often the sensor thread republishes its timing counters. */
constexpr int kStatsWindowSamples = 200;

/*
 * Stacks are measured rather than guessed. The sensor thread carries the
 * driver and I2C stack; the console threads carry printk/RTT.
 */
constexpr std::size_t kSensorStackBytes = 2048;
constexpr std::size_t kTelemetryStackBytes = 1024;
/*
 * The altitude thread keeps its 64-entry baseline window (768 B) on the stack.
 * 1024 B overflowed it and tripped the MPU; 2048 B leaves the driver-free
 * thread room for the window plus printk on the calibration path.
 */
constexpr std::size_t kAltitudeStackBytes = 2048;
constexpr std::size_t kLedStackBytes = 1024;
constexpr std::size_t kApogeeStackBytes = 2048;
constexpr std::size_t kHeatStackBytes = 1024;
constexpr std::size_t kReplayStackBytes = 2048;

/*
 * Lower number = higher priority. The sensor thread must preempt every
 * consumer, otherwise a slow printk could push the 50 ms deadline. Altitude
 * outranks apogee so a detection decision is never made on a stale estimate;
 * the LED and the console sit below both.
 */
constexpr int kSensorPriority = 5;
constexpr int kAltitudePriority = 6;
constexpr int kApogeePriority = 7;
constexpr int kHeatPriority = 8;
constexpr int kLedPriority = 9;
constexpr int kTelemetryPriority = 10;
constexpr int kSelftestPriority = 11; /* test builds only */
constexpr int kReplayPriority = 5; /* stands in for the sensor thread */

} // namespace cfg
```

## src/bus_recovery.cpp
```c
#include <zephyr/device.h>
#include <zephyr/drivers/i2c.h>
#include <zephyr/init.h>

#if !defined(CONFIG_APP_REPLAY)

namespace {

const device *const kBus = DEVICE_DT_GET(DT_BUS(DT_NODELABEL(bmp280)));

int g_recovery_rc = 0;

/*
 * A reset issued while the sensor is mid-transfer can leave it holding SDA low,
 * and an MCU reset does not clear that. Nine clocks plus a STOP fix it, but the
 * timing matters: the I2C controller must exist (so its pins can be re-applied)
 * and the BMP280 driver must not have run yet.
 *
 * That is the whole point of doing it here rather than in main(). A device whose
 * init fails is marked not-ready permanently, so recovering the bus after the
 * driver has already failed cannot bring the sensor back for this boot.
 *
 * The console is not installed yet at this priority, so the result is stored and
 * reported by main().
 */
int recover_bus_at_boot()
{
	g_recovery_rc = i2c_recover_bus(kBus);

	return 0;
}

} // namespace

/*
 * The priority has to be a literal: SYS_INIT() stringifies the token to build
 * the section name, so "CONFIG_I2C_INIT_PRIORITY + 1" would become the section
 * ".z_init_post_kernel_P_50 + 1_SUB_0" and fail the initlevel_error assert.
 * The two assertions below enforce the ordering that makes this useful.
 */
SYS_INIT(recover_bus_at_boot, POST_KERNEL, 51);

BUILD_ASSERT(51 > CONFIG_I2C_INIT_PRIORITY,
	     "bus recovery must run after the I2C controller is initialised");
BUILD_ASSERT(51 < CONFIG_SENSOR_INIT_PRIORITY,
	     "bus recovery must run before the BMP280 driver initialises");

int bus_recovery_status()
{
	return g_recovery_rc;
}

#else /* CONFIG_APP_REPLAY */

/* Replay never touches the bus, so there is nothing to recover and no result. */
int bus_recovery_status()
{
	return 0;
}

#endif /* CONFIG_APP_REPLAY */
```

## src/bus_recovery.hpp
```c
#pragma once

/*
 * Result of the boot-time I2C bus recovery that bus_recovery.cpp registers as a
 * POST_KERNEL init step. It runs before the console exists, so main() reports
 * it; a non-zero value means the bus was latched and the recovery attempt
 * failed, in which case the sensor driver will not have come up.
 */
int bus_recovery_status();
```
